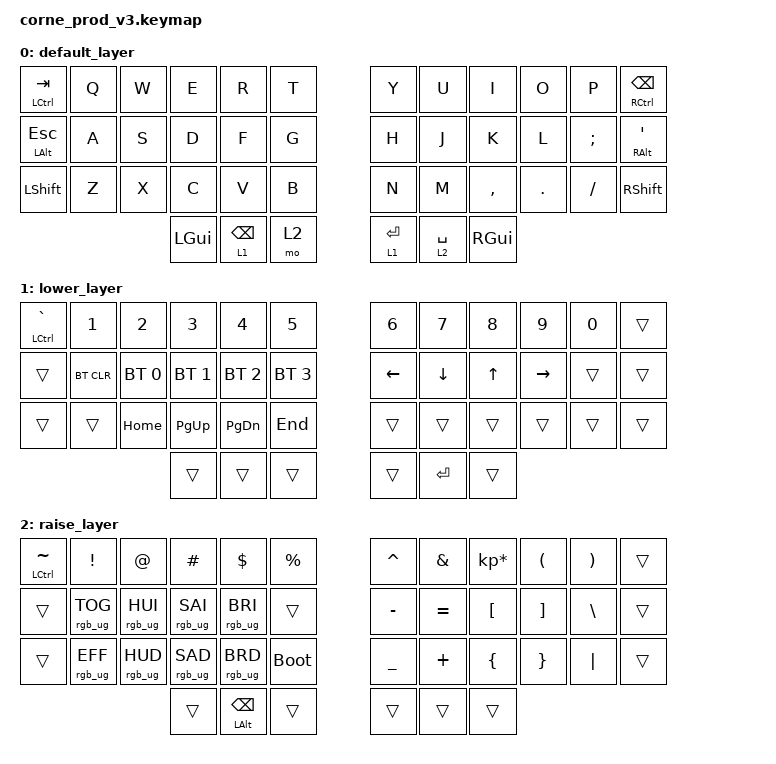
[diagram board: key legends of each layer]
/*
 * Copyright (c) 2020 The ZMK Contributors
 *
 * SPDX-License-Identifier: MIT
 *
 * Reference: https://zmk.dev/docs/keymaps/behaviors/key-press
 *
 */

#include <behaviors.dtsi>
#include <dt-bindings/zmk/keys.h>
#include <dt-bindings/zmk/bt.h>
#include <dt-bindings/zmk/rgb.h>

&led_strip {
    chain-length = <27>;
};

/ {
        keymap {
                compatible = "zmk,keymap";

                default_layer {
// -----------------------------------------------------------------------------------------
// | TAB / LCTRL |  Q  |  W  |  E   |  R  |  T  |      |  Y  |  U   |  I  |  O  |  P  | BSPC / RCTRL |
// | ESC / LALT  |  A  |  S  |  D   |  F  |  G  |      |  H  |  J   |  K  |  L  |  ;  | ' / RALT     |
// | LSHFT       |  Z  |  X  |  C   |  V  |  B  |      |  N  |  M   |  ,  |  .  |  /  | RSHFT        |
//                           | LGUI | BSPC / LWR | RSE |     | ENT / LSE | SPC / RSE | RGUI |
                        bindings = <
   &mt LCTRL TAB  &kp Q &kp W  &kp E &kp R &kp T   &kp Y &kp U  &kp I     &kp O   &kp P   &mt RCTRL BSPC
   &mt LALT ESC &kp A &kp S  &kp D &kp F &kp G   &kp H &kp J  &kp K     &kp L   &kp SEMI &mt RALT SQT
   &kp LSHFT     &kp Z &kp X  &kp C &kp V &kp B   &kp N &kp M  &kp COMMA &kp DOT &kp FSLH &kp RSHFT
                       &kp LGUI &lt 1 BSPC &mo 2  &lt 1 RET &lt 2 SPACE &kp RGUI
                        >;
                };
                lower_layer {
// -----------------------------------------------------------------------------------------
// | ` / LCTRL |  1    |  2  |  3  |  4  |  5  |   |  6  |  7  |  8  |  9  |  0  |             |
// |           | BTCLR | BT0 | BT1 | BT2 | BT3 |   | LFT | DWN |  UP | RGT |     |             |
// |           |       | HOME| PGUP| PGDN| END |   |     |     |     |     |     |             |
//                           |     |     |     |   |     | ENT |     |
                        bindings = <
   &mt LCTRL GRAVE &kp N1 &kp N2   &kp N3    &kp N4    &kp N5         &kp N6   &kp N7   &kp N8 &kp N9    &kp N0 &trans
   &trans    &bt BT_CLR &bt BT_SEL 0 &bt BT_SEL 1 &bt BT_SEL 2 &bt BT_SEL 3   &kp LEFT &kp DOWN &kp UP &kp RIGHT &trans &trans
   &trans          &trans &kp HOME &kp PG_UP &kp PG_DN &kp END         &trans   &trans   &trans &trans    &trans &trans
                          &trans          &trans &trans   &trans    &kp RET &trans
                        >;
                };
                raise_layer {
// -----------------------------------------------------------------------------------------
// | ~ / LCTRL |   !   |   @   |   #   |   $   |   %   |   |  ^  |  &  |  *  |  (  |  )  |      |
// |          |RGB_TOG|RGB_HUI|RGB_SAI|RGB_VAI|       |   |  -  |  =  |  [  |  ]  |  \  |      |
// |          |RGB_MOD|RGB_HUD|RGB_SAD|RGB_VAD|QK_BOOT|   |  _  |  +  |  {  |  }  | "|" |      |
//                            |       | LALT + BSPC |       |   |     |     |     |
                        bindings = <
   &mt LCTRL TILDE &kp EXCL &kp AT &kp HASH &kp DLLR &kp PRCNT   &kp CARET &kp AMPS  &kp KP_MULTIPLY &kp LPAR &kp RPAR &trans
   &trans    &rgb_ug  RGB_TOG   &rgb_ug RGB_HUI &rgb_ug RGB_SAI   &rgb_ug RGB_BRI   &trans      &kp MINUS &kp EQUAL &kp LBKT        &kp RBKT &kp BSLH &trans
   &trans    &rgb_ug RGB_EFF   &rgb_ug RGB_HUD &rgb_ug RGB_SAD   &rgb_ug RGB_BRD   &bootloader      &kp UNDER &kp PLUS  &kp LBRC        &kp RBRC &kp PIPE &trans
                  &trans &ht_hp LALT BSPC &trans &trans &trans   &trans
                        >;
                };
        };
};
